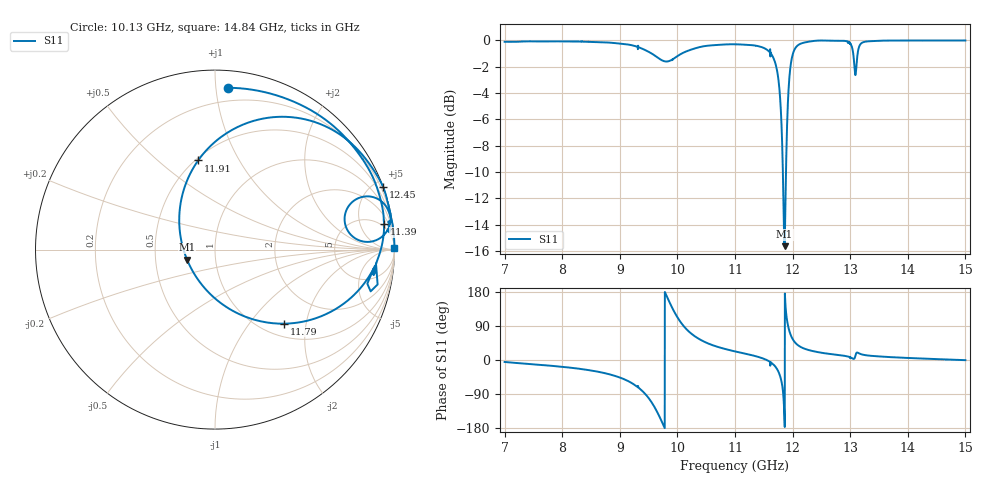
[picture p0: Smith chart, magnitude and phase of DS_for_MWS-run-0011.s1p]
! TOUCHSTONE file generated by CST DESIGN STUDIO
! Date and time: Mon Feb 10 16:54:13 2025
! Project name: C:\Work\MatlabApps\UnitCellType2OptimizationMatlab\CST\unitcell.cst
! Tree item: Tasks\Sweep1\SPara1\S-Parameters
! Header version: 2024
! Port assignment regex: !\s*Touchstone port\s*([0-9]+)\s*=\s*(CST MWS port|CST DES external port|CST DES block port)\s*(.+)\s* \(\"(.*)\"\)(\s*mode\s*([0-9]+))?.*
! Touchstone port assignment:
! Touchstone port 1 = CST DES external port 1 ("")
# GHz S MA R 50
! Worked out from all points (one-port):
!   4001 points, 7 GHz to 15 GHz, reference 50 ohm
!   lowest |S11| = -15.6 dB at 11.86 GHz (marker M1), VSWR 1.40, Z = 36.3 - j4.24 ohm
!   |S11| at or under -10 dB: 11.83123 GHz to 11.88512 GHz (53.89 MHz wide, 0.454 % of centre)
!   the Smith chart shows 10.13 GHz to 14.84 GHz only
!   S11 on the Smith chart (normalised r, x): 10.13 GHz: 0.11, +1.08; 11.39 GHz: 4, +12; 11.79 GHz: 1.24, -1.50; 11.91 GHz: 0.52, +0.69; 12.45 GHz: 0.01, +5.54; 14.84 GHz: open
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7  0.9887 -5.2
8  0.9915 -18.0
9  0.9733 -46.2
9.3  0.9467 -70.3
9.546  0.8941 -110.2
9.652  0.8627 -138.1
9.774  0.8337 -177.7
9.868  0.8371 150.7
10  0.8721 112.8
10.132  0.9046 85.4
10.47  0.9518 48.0
11  0.9673 22.7
11.392  0.9531 8.7
11.666  0.8595 -11.7
11.736  0.7556 -25.5
11.792  0.5634 -47.1
11.86  0.1654 -160.0
11.908  0.5055 100.7
11.948  0.7397 74.4
12  0.8818 55.4
12.14  0.9723 34.4
12.45  0.9993 20.5
13  0.9752 7.1
13.098  0.7529 15.5
13.25  0.9884 13.1
14  0.9995 5.4
14.838  0.9995 0.4
15  1 -0.4
